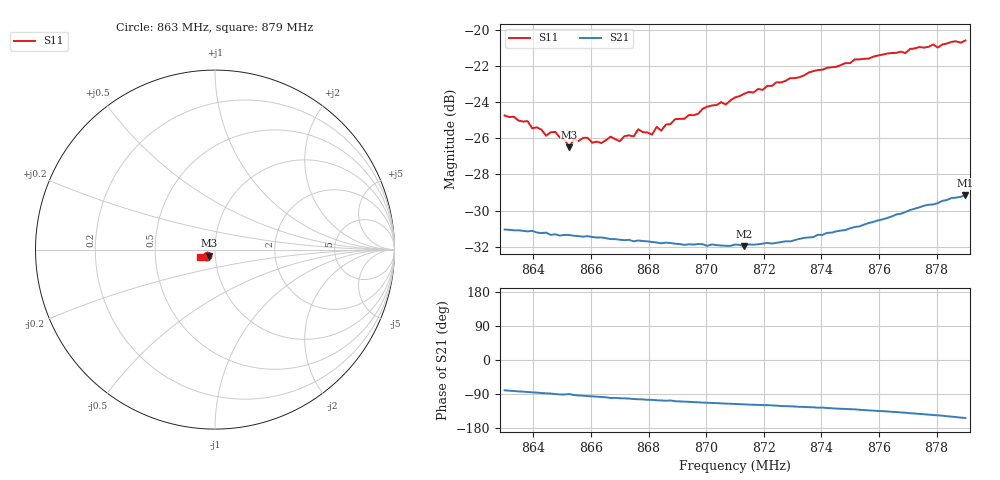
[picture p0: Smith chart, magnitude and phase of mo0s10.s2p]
# HZ S RI R 50
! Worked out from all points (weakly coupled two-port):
!   101 points, 863 MHz to 879 MHz, reference 50 ohm
!   highest |S21| = -29.15 dB at 879 MHz (marker M1); lowest = -32.0 dB at 871.32 MHz (marker M2)
!   lowest |S11| = -26.5 dB at 865.24 MHz (marker M3), VSWR 1.10, Z = 46.7 - j3.23 ohm
!   |S11| at or under -10 dB: start of sweep to end of sweep
!   S12 and S22 are empty: the file has one direction only
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8.63e8  -0.0466 -0.0344  0.0049 -0.0276  0 0  0 0
8.638e8  -0.0438 -0.0348  0.00268 -0.0276  0 0  0 0
8.6444e8  -0.0382 -0.0337  0.000991 -0.0274  0 0  0 0
8.6476e8  -0.0387 -0.0351  7.1e-05 -0.0272  0 0  0 0
8.6524e8  -0.0325 -0.0344  0.000142 -0.027  0 0  0 0
8.654e8  -0.0345 -0.0359  -0.00114 -0.0269  0 0  0 0
8.6572e8  -0.0332 -0.0377  -0.00196 -0.0267  0 0  0 0
8.6636e8  -0.0313 -0.0372  -0.00353 -0.0264  0 0  0 0
8.6668e8  -0.0309 -0.0401  -0.00472 -0.0259  0 0  0 0
8.67e8  -0.0289 -0.0397  -0.00498 -0.0258  0 0  0 0
8.6748e8  -0.0272 -0.0428  -0.00581 -0.0253  0 0  0 0
8.6764e8  -0.0304 -0.0435  -0.00614 -0.0254  0 0  0 0
8.6812e8  -0.0267 -0.0438  -0.00679 -0.025  0 0  0 0
8.6828e8  -0.0282 -0.0459  -0.00721 -0.0248  0 0  0 0
8.6844e8  -0.0281 -0.0445  -0.00741 -0.0246  0 0  0 0
8.6892e8  -0.0292 -0.0485  -0.00826 -0.0242  0 0  0 0
8.7068e8  -0.0319 -0.0533  -0.0107 -0.0229  0 0  0 0
8.71e8  -0.0338 -0.0555  -0.0112 -0.0229  0 0  0 0
8.7132e8  -0.0355 -0.0563  -0.0115 -0.0224  0 0  0 0
8.7372e8  -0.0481 -0.06  -0.0152 -0.0219  0 0  0 0
8.7644e8  -0.0661 -0.0555  -0.0222 -0.0209  0 0  0 0
8.79e8  -0.0832 -0.0426  -0.0311 -0.0158  0 0  0 0
